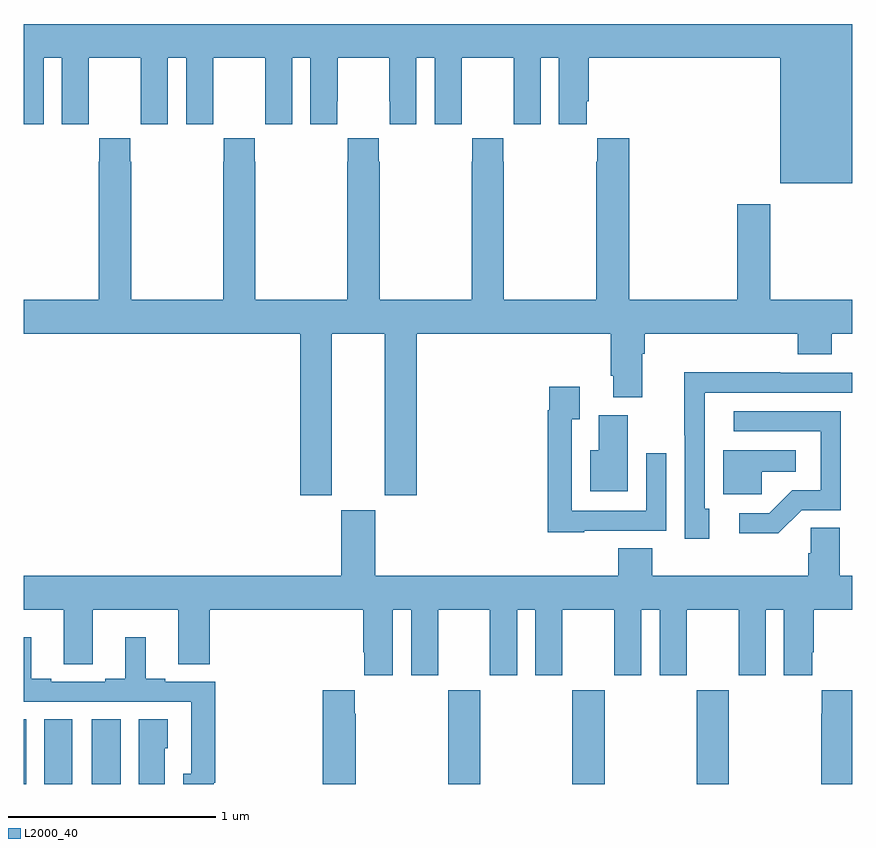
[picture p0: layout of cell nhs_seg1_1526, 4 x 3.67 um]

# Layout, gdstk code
import gdstk
lib = gdstk.Library(unit=1e-6, precision=1e-09)
def R(c, l, rs):  # rectangles x0, y0, x1, y1
    for r in rs: c.add(gdstk.rectangle(r[:2], r[2:], *l))
def A(c, l, x, y, w, h, nx, ny, dx, dy):  # array of equal rectangles
    R(c, l, [(x+i*dx, y+j*dy, x+i*dx+w, y+j*dy+h) for i in range(nx) for j in range(ny)])
def P(c, l, *ps):  # polygons
    for p in ps: c.add(gdstk.Polygon(p, *l))
L2000_40 = (2000, 40)

nhs_seg1_1526 = lib.new_cell('nhs_seg1_1526')
A(nhs_seg1_1526, L2000_40, 195.049, 576.199, 0.155, 0.453, 3, 1, 0.6, 0)
R(nhs_seg1_1526, L2000_40, [(193,576.199,193.012,576.512), (193.1,576.199,193.234,576.512), (193.328,576.199,193.468,576.512)])
P(nhs_seg1_1526, L2000_40, [(197,579.868),(193,579.868),(193,579.384),(193.096,579.384),(193.096,579.704),(193.184,579.704),(193.184,579.384),(193.314,579.384),(193.314,579.496),(193.315,579.496),(193.315,579.704),(193.565,579.704),(193.565,579.496),(193.566,579.496),(193.566,579.384),(193.696,579.384),(193.696,579.704),(193.784,579.704),(193.784,579.384),(193.914,579.384),(193.914,579.496),(193.915,579.496),(193.915,579.704),(194.165,579.704),(194.165,579.496),(194.166,579.496),(194.166,579.384),(194.296,579.384),(194.296,579.704),(194.384,579.704),(194.384,579.384),(194.514,579.384),(194.514,579.496),(194.515,579.496),(194.515,579.704),(194.765,579.704),(194.765,579.496),(194.766,579.496),(194.766,579.384),(194.896,579.384),(194.896,579.704),(194.984,579.704),(194.984,579.384),(195.114,579.384),(195.114,579.496),(195.115,579.496),(195.115,579.704),(195.365,579.704),(195.365,579.496),(195.366,579.496),(195.366,579.384),(195.496,579.384),(195.496,579.704),(195.584,579.704),(195.584,579.384),(195.718,579.384),(195.718,579.496),(195.728,579.496),(195.728,579.704),(196.652,579.704),(196.652,579.098),(197,579.098)],
  [(194.488,578.372),(194.744,578.372),(194.744,577.593),(194.897,577.593),(194.897,578.372),(195.833,578.372),(195.833,578.17),(195.845,578.17),(195.845,578.065),(195.985,578.065),(195.985,578.276),(195.998,578.276),(195.998,578.372),(196.736,578.372),(196.736,578.273),(196.901,578.273),(196.901,578.372),(197,578.372),(197,578.536),(196.605,578.536),(196.605,578.998),(196.445,578.998),(196.445,578.536),(195.923,578.536),(195.923,579.316),(195.769,579.316),(195.769,579.203),(195.763,579.203),(195.763,578.536),(195.318,578.536),(195.318,579.203),(195.315,579.203),(195.315,579.316),(195.165,579.316),(195.165,579.203),(195.163,579.203),(195.163,578.536),(194.718,578.536),(194.718,579.203),(194.715,579.203),(194.715,579.316),(194.565,579.316),(194.565,579.203),(194.563,579.203),(194.563,578.536),(194.118,578.536),(194.118,579.203),(194.115,579.203),(194.115,579.316),(193.965,579.316),(193.965,579.203),(193.963,579.203),(193.963,578.536),(193.518,578.536),(193.518,579.203),(193.515,579.203),(193.515,579.316),(193.365,579.316),(193.365,579.203),(193.363,579.203),(193.363,578.536),(193,578.536),(193,578.372),(194.336,578.372),(194.336,577.593),(194.488,577.593)],
  [(196.309,577.527),(196.287,577.527),(196.287,578.088),(197,578.088),(197,578.184),(196.652,578.184),(196.652,578.186),(196.19,578.186),(196.19,577.882),(196.191,577.882),(196.191,577.383),(196.309,577.383)],
  [(195.705,577.422),(196.101,577.422),(196.101,577.795),(196.005,577.795),(196.005,577.518),(195.645,577.518),(195.645,577.96),(195.685,577.96),(195.685,578.116),(195.537,578.116),(195.537,578.003),(195.529,578.003),(195.529,577.415),(195.705,577.415)],
  [(196.755,577.521),(196.944,577.521),(196.944,577.998),(196.428,577.998),(196.428,577.902),(196.848,577.902),(196.848,577.617),(196.71,577.617),(196.599,577.506),(196.455,577.506),(196.455,577.409),(196.642,577.409)],
  [(195.916,577.98),(195.776,577.98),(195.776,577.81),(195.734,577.81),(195.734,577.613),(195.916,577.613)],
  [(196.563,577.706),(196.726,577.706),(196.726,577.81),(196.376,577.81),(196.376,577.599),(196.563,577.599)],
  [(194.782,577.04),(194.87,577.04),(194.87,576.723),(195.001,576.723),(195.001,577.04),(195.251,577.04),(195.251,576.723),(195.382,576.723),(195.382,577.04),(195.47,577.04),(195.47,576.723),(195.601,576.723),(195.601,577.04),(195.851,577.04),(195.851,576.723),(195.982,576.723),(195.982,577.04),(196.07,577.04),(196.07,576.723),(196.201,576.723),(196.201,577.04),(196.451,577.04),(196.451,576.723),(196.582,576.723),(196.582,577.04),(196.67,577.04),(196.67,576.723),(196.807,576.723),(196.807,576.835),(196.814,576.835),(196.814,577.04),(197,577.04),(197,577.204),(196.939,577.204),(196.939,577.436),(196.8,577.436),(196.8,577.313),(196.787,577.313),(196.787,577.204),(196.034,577.204),(196.034,577.337),(195.869,577.337),(195.869,577.204),(194.698,577.204),(194.698,577.521),(194.534,577.521),(194.534,577.204),(193,577.204),(193,577.04),(193.193,577.04),(193.193,576.778),(193.333,576.778),(193.333,577.04),(193.745,577.04),(193.745,576.778),(193.898,576.778),(193.898,577.04),(194.639,577.04),(194.639,576.835),(194.645,576.835),(194.645,576.723),(194.782,576.723)],
  [(193.918,576.205),(193.925,576.205),(193.925,576.693),(193.684,576.693),(193.684,576.706),(193.588,576.706),(193.588,576.907),(193.49,576.907),(193.49,576.706),(193.394,576.706),(193.394,576.693),(193.132,576.693),(193.132,576.706),(193.036,576.706),(193.036,576.907),(193,576.907),(193,576.597),(193.809,576.597),(193.809,576.249),(193.769,576.249),(193.769,576.199),(193.918,576.199)],
  [(194.604,576.539),(194.599,576.539),(194.599,576.652),(194.444,576.652),(194.444,576.199),(194.604,576.199)],
  [(197,576.652),(196.853,576.652),(196.853,576.539),(196.849,576.539),(196.849,576.199),(197,576.199)],
  [(193.681,576.372),(193.696,576.372),(193.696,576.512),(193.556,576.512),(193.556,576.199),(193.681,576.199)])

lib.write_gds('nhs_seg1_1526.gds')
